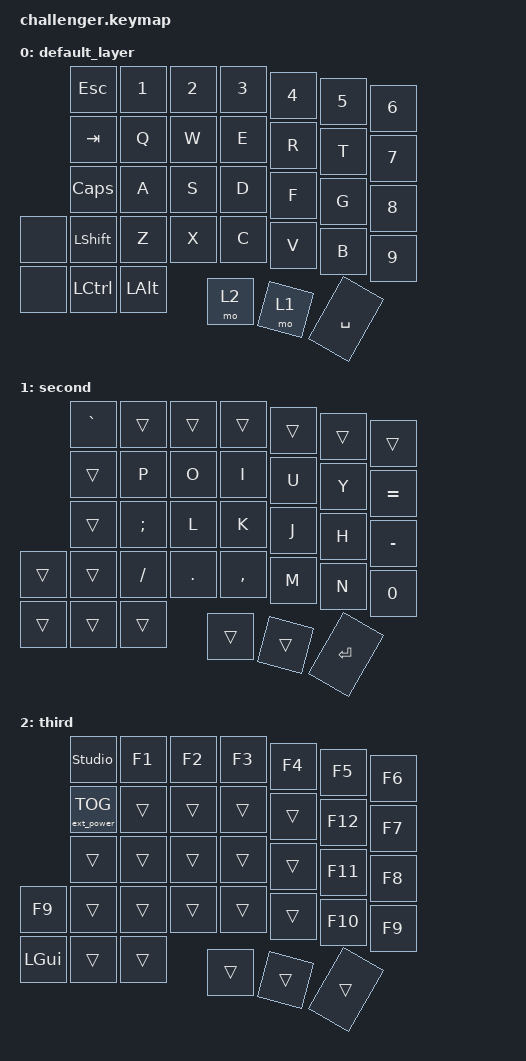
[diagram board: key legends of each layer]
#include <behaviors.dtsi>
#include <dt-bindings/zmk/keys.h>
#include <dt-bindings/zmk/ext_power.h>

/ {
    keymap {
        compatible = "zmk,keymap";

        default_layer {
            bindings = <
                            &kp ESC     &kp N1      &kp N2      &kp N3      &kp N4      &kp N5      &kp N6
                            &kp TAB     &kp Q       &kp W       &kp E       &kp R       &kp T       &kp N7
                            &kp CAPS    &kp A       &kp S       &kp D       &kp F       &kp G       &kp N8
                &none       &kp LSHFT   &kp Z       &kp X       &kp C       &kp V       &kp B       &kp N9
                &none       &kp LCTRL   &kp LALT                &mo 2       &mo 1       &kp SPACE
            >;
        };

        second {
            bindings = <
                            &kp GRAVE   &trans      &trans      &trans      &trans      &trans      &trans
                            &trans      &kp P       &kp O       &kp I       &kp U       &kp Y       &kp EQUAL
                            &trans      &kp SEMI    &kp L       &kp K       &kp J       &kp H       &kp MINUS
                &trans      &trans      &kp SLASH   &kp PERIOD  &kp COMMA   &kp M       &kp N       &kp N0
                &trans      &trans      &trans                  &trans      &trans      &kp ENTER
            >;
        };

        third {
            bindings = <
                            &studio_unlock &kp F1   &kp F2      &kp F3      &kp F4      &kp F5      &kp F6
                            &ext_power EP_TOG &trans &trans     &trans      &trans      &kp F12     &kp F7
                            &trans      &trans      &trans      &trans      &trans      &kp F11     &kp F8
                &kp F9      &trans      &trans      &trans      &trans      &trans      &kp F10     &kp F9
                &kp LGUI    &trans      &trans                  &trans      &trans      &trans
            >;
        };
    };
};
